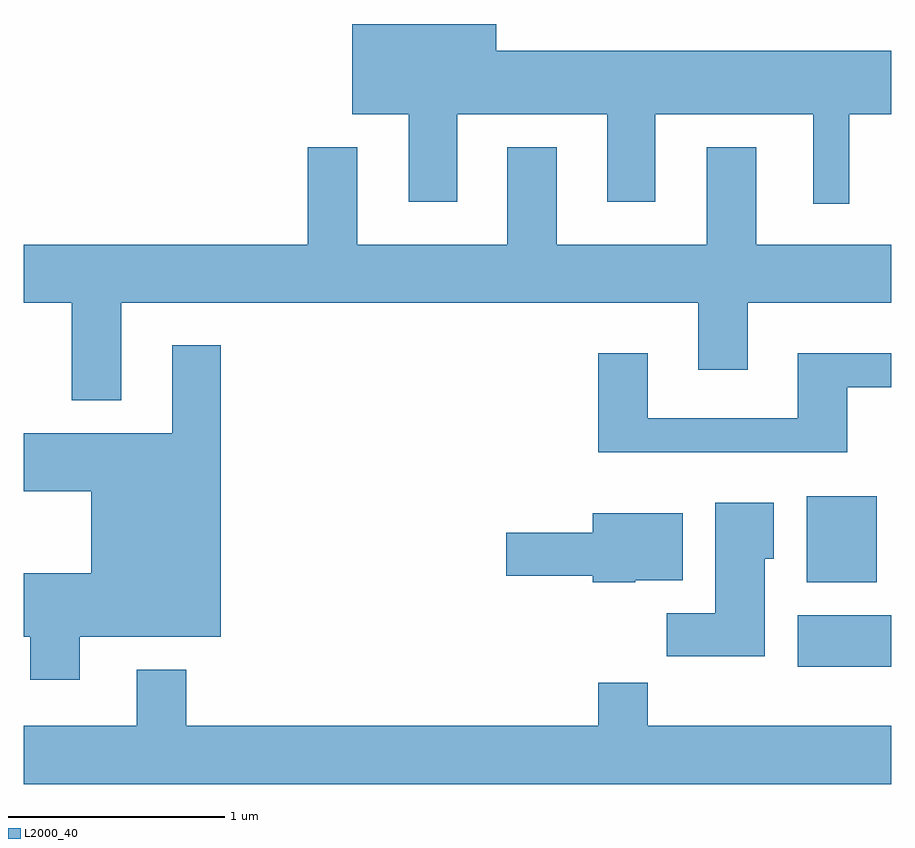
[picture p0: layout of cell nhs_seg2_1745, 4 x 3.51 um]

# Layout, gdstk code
import gdstk
lib = gdstk.Library(unit=1e-6, precision=1e-09)
def R(c, l, rs):  # rectangles x0, y0, x1, y1
    for r in rs: c.add(gdstk.rectangle(r[:2], r[2:], *l))
def P(c, l, *ps):  # polygons
    for p in ps: c.add(gdstk.Polygon(p, *l))
L2000_40 = (2000, 40)

nhs_seg2_1745 = lib.new_cell('nhs_seg2_1745')
R(nhs_seg2_1745, L2000_40, [(239.181,1068.836,239.611,1069.074), (239.221,1069.226,239.544,1069.624)])
P(nhs_seg2_1745, L2000_40, [(239.419,1071.386),(239.611,1071.386),(239.611,1071.679),(237.789,1071.679),(237.789,1071.802),(237.126,1071.802),(237.126,1071.386),(237.386,1071.386),(237.386,1070.981),(237.609,1070.981),(237.609,1071.386),(238.301,1071.386),(238.301,1070.981),(238.524,1070.981),(238.524,1071.386),(239.251,1071.386),(239.251,1070.973),(239.419,1070.973)],
  [(236.059,1070.516),(238.721,1070.516),(238.721,1070.206),(238.949,1070.206),(238.949,1070.516),(239.611,1070.516),(239.611,1070.784),(238.989,1070.784),(238.989,1071.234),(238.761,1071.234),(238.761,1070.784),(238.069,1070.784),(238.069,1071.234),(237.841,1071.234),(237.841,1070.784),(237.149,1070.784),(237.149,1071.234),(236.921,1071.234),(236.921,1070.784),(235.611,1070.784),(235.611,1070.516),(235.831,1070.516),(235.831,1070.066),(236.059,1070.066)],
  [(235.869,1068.976),(236.519,1068.976),(236.519,1070.319),(236.296,1070.319),(236.296,1069.914),(235.611,1069.914),(235.611,1069.646),(235.921,1069.646),(235.921,1069.269),(235.611,1069.269),(235.611,1068.976),(235.641,1068.976),(235.641,1068.776),(235.869,1068.776)],
  [(239.409,1070.126),(239.611,1070.126),(239.611,1070.284),(239.181,1070.284),(239.181,1069.984),(238.489,1069.984),(238.489,1070.284),(238.261,1070.284),(238.261,1069.826),(239.409,1069.826)],
  [(239.029,1069.336),(239.069,1069.336),(239.069,1069.594),(238.801,1069.594),(238.801,1069.084),(238.576,1069.084),(238.576,1068.886),(239.029,1068.886)],
  [(238.43,1069.236),(238.649,1069.236),(238.649,1069.544),(238.236,1069.544),(238.236,1069.454),(237.836,1069.454),(237.836,1069.256),(238.236,1069.256),(238.236,1069.226),(238.43,1069.226)],
  [(239.611,1068.564),(238.489,1068.564),(238.489,1068.764),(238.261,1068.764),(238.261,1068.564),(236.359,1068.564),(236.359,1068.824),(236.131,1068.824),(236.131,1068.564),(235.611,1068.564),(235.611,1068.296),(239.611,1068.296)])

lib.write_gds('nhs_seg2_1745.gds')
